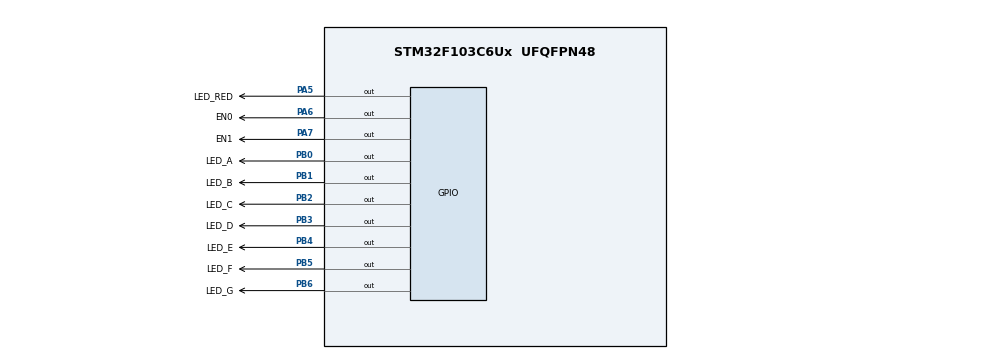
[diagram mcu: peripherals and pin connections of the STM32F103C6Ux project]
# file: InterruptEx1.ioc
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Mcu.Family=STM32F1
Mcu.Name=STM32F103C6Ux
Mcu.Package=UFQFPN48
NVIC.PriorityGroup=NVIC_PRIORITYGROUP_4
NVIC.TIM2_IRQn=true\:0\:0\:false\:false\:true\:true\:true
PA5.GPIO_Label=LED_RED
PA5.Signal=GPIO_Output
PA6.GPIO_Label=EN0
PA6.Signal=GPIO_Output
PA7.GPIO_Label=EN1
PA7.Signal=GPIO_Output
PB0.GPIO_Label=LED_A
PB0.Signal=GPIO_Output
PB1.GPIO_Label=LED_B
PB1.Signal=GPIO_Output
PB2.GPIO_Label=LED_C
PB2.Signal=GPIO_Output
PB3.GPIO_Label=LED_D
PB3.Signal=GPIO_Output
PB4.GPIO_Label=LED_E
PB4.Signal=GPIO_Output
PB5.GPIO_Label=LED_F
PB5.Signal=GPIO_Output
PB6.GPIO_Label=LED_G
PB6.Signal=GPIO_Output
ProjectManager.HeapSize=0x200
ProjectManager.StackSize=0x400
ProjectManager.TargetToolchain=STM32CubeIDE
RCC.APB1Freq_Value=8000000
RCC.APB2Freq_Value=8000000
TIM2.Period=9
TIM2.Prescaler=7999
VP_SYS_VS_ND.Mode=No_Debug
VP_TIM2_VS_ClockSourceINT.Mode=Internal
board=custom

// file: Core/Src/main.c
/* USER CODE BEGIN Header */
/**
  ******************************************************************************
  * @file           : main.c
  * @brief          : Main program body
  ******************************************************************************
  * @attention
  *
  * <h2><center>&copy; Copyright (c) 2024 STMicroelectronics.
  * All rights reserved.</center></h2>
  *
  * This software component is licensed by ST under BSD 3-Clause license,
  * the "License"; You may not use this file except in compliance with the
  * License. You may obtain a copy of the License at:
  *                        opensource.org/licenses/BSD-3-Clause
  *
  ******************************************************************************
  */
/* USER CODE END Header */
#include "main.h"

TIM_HandleTypeDef htim2;

void SystemClock_Config(void);
static void MX_TIM2_Init(void);
static void MX_GPIO_Init(void);

void clear7SEG() {
    HAL_GPIO_WritePin(GPIOB, LED_A_Pin | LED_B_Pin | LED_C_Pin | LED_D_Pin | LED_E_Pin | LED_F_Pin | LED_G_Pin, GPIO_PIN_SET);
}

void display7SEG(int num) {
    clear7SEG();

    switch(num) {
        case 0:
            HAL_GPIO_WritePin(GPIOB, LED_A_Pin | LED_B_Pin | LED_C_Pin | LED_D_Pin | LED_E_Pin | LED_F_Pin, GPIO_PIN_RESET);
            break;
        case 1:
            HAL_GPIO_WritePin(GPIOB, LED_B_Pin | LED_C_Pin, GPIO_PIN_RESET);
            break;
        case 2:
            HAL_GPIO_WritePin(GPIOB, LED_A_Pin | LED_B_Pin | LED_D_Pin | LED_E_Pin | LED_G_Pin, GPIO_PIN_RESET);
            break;
        case 3:
            HAL_GPIO_WritePin(GPIOB, LED_A_Pin | LED_B_Pin | LED_C_Pin | LED_D_Pin | LED_G_Pin, GPIO_PIN_RESET);
            break;
        case 4:
            HAL_GPIO_WritePin(GPIOB, LED_B_Pin | LED_C_Pin | LED_F_Pin | LED_G_Pin, GPIO_PIN_RESET);
            break;
        case 5:
            HAL_GPIO_WritePin(GPIOB, LED_A_Pin | LED_C_Pin | LED_D_Pin | LED_F_Pin | LED_G_Pin, GPIO_PIN_RESET);
            break;
        case 6:
            HAL_GPIO_WritePin(GPIOB, LED_A_Pin | LED_C_Pin | LED_D_Pin | LED_E_Pin | LED_F_Pin | LED_G_Pin, GPIO_PIN_RESET);
            break;
        case 7:
            HAL_GPIO_WritePin(GPIOB, LED_A_Pin | LED_B_Pin | LED_C_Pin, GPIO_PIN_RESET);
            break;
        case 8:
            HAL_GPIO_WritePin(GPIOB, LED_A_Pin | LED_B_Pin | LED_C_Pin | LED_D_Pin | LED_E_Pin | LED_F_Pin | LED_G_Pin, GPIO_PIN_RESET);
            break;
        case 9:
            HAL_GPIO_WritePin(GPIOB, LED_A_Pin | LED_B_Pin | LED_C_Pin | LED_D_Pin | LED_F_Pin | LED_G_Pin, GPIO_PIN_RESET);
            break;
        default:
            break;
    }
}
int main(void)
{

  /* MCU Configuration--------------------------------------------------------*/

  /* Reset of all peripherals, Initializes the Flash interface and the Systick. */
  HAL_Init();

  /* Configure the system clock */
  SystemClock_Config();

  /* Initialize all configured peripherals */
  MX_TIM2_Init();
  MX_GPIO_Init();
  /* USER CODE BEGIN 2 */
  HAL_TIM_Base_Start_IT(&htim2);
  /* USER CODE END 2 */

  /* Infinite loop */
    while (1)
    {

    }
}

void SystemClock_Config(void)
{
  RCC_OscInitTypeDef RCC_OscInitStruct = {0};
  RCC_ClkInitTypeDef RCC_ClkInitStruct = {0};

  /** Initializes the RCC Oscillators according to the specified parameters
  * in the RCC_OscInitTypeDef structure.
  */
  RCC_OscInitStruct.OscillatorType = RCC_OSCILLATORTYPE_HSI;
  RCC_OscInitStruct.HSIState = RCC_HSI_ON;
  RCC_OscInitStruct.HSICalibrationValue = RCC_HSICALIBRATION_DEFAULT;
  RCC_OscInitStruct.PLL.PLLState = RCC_PLL_NONE;
  if (HAL_RCC_OscConfig(&RCC_OscInitStruct) != HAL_OK)
  {
    Error_Handler();
  }
  /** Initializes the CPU, AHB and APB buses clocks
  */
  RCC_ClkInitStruct.ClockType = RCC_CLOCKTYPE_HCLK|RCC_CLOCKTYPE_SYSCLK
                              |RCC_CLOCKTYPE_PCLK1|RCC_CLOCKTYPE_PCLK2;
  RCC_ClkInitStruct.SYSCLKSource = RCC_SYSCLKSOURCE_HSI;
  RCC_ClkInitStruct.AHBCLKDivider = RCC_SYSCLK_DIV1;
  RCC_ClkInitStruct.APB1CLKDivider = RCC_HCLK_DIV1;
  RCC_ClkInitStruct.APB2CLKDivider = RCC_HCLK_DIV1;

  if (HAL_RCC_ClockConfig(&RCC_ClkInitStruct, FLASH_LATENCY_0) != HAL_OK)
  {
    Error_Handler();
  }
}

static void MX_TIM2_Init(void)
{

  TIM_ClockConfigTypeDef sClockSourceConfig = {0};
  TIM_MasterConfigTypeDef sMasterConfig = {0};

  htim2.Instance = TIM2;
  htim2.Init.Prescaler = 7999;
  htim2.Init.CounterMode = TIM_COUNTERMODE_UP;
  htim2.Init.Period = 9;
  htim2.Init.ClockDivision = TIM_CLOCKDIVISION_DIV1;
  htim2.Init.AutoReloadPreload = TIM_AUTORELOAD_PRELOAD_DISABLE;
  if (HAL_TIM_Base_Init(&htim2) != HAL_OK)
  {
    Error_Handler();
  }
  sClockSourceConfig.ClockSource = TIM_CLOCKSOURCE_INTERNAL;
  if (HAL_TIM_ConfigClockSource(&htim2, &sClockSourceConfig) != HAL_OK)
  {
    Error_Handler();
  }
  sMasterConfig.MasterOutputTrigger = TIM_TRGO_RESET;
  sMasterConfig.MasterSlaveMode = TIM_MASTERSLAVEMODE_DISABLE;
  if (HAL_TIMEx_MasterConfigSynchronization(&htim2, &sMasterConfig) != HAL_OK)
  {
    Error_Handler();
  }

}

static void MX_GPIO_Init(void)
{
  GPIO_InitTypeDef GPIO_InitStruct = {0};

  /* GPIO Ports Clock Enable */
  __HAL_RCC_GPIOA_CLK_ENABLE();
  __HAL_RCC_GPIOB_CLK_ENABLE();

  /*Configure GPIO pin Output Level */
  HAL_GPIO_WritePin(GPIOA, LED_RED_Pin|EN0_Pin|EN1_Pin, GPIO_PIN_RESET);

  /*Configure GPIO pin Output Level */
  HAL_GPIO_WritePin(GPIOB, LED_A_Pin|LED_B_Pin|LED_C_Pin|LED_D_Pin
                          |LED_E_Pin|LED_F_Pin|LED_G_Pin, GPIO_PIN_RESET);

  /*Configure GPIO pins : LED_RED_Pin EN0_Pin EN1_Pin */
  GPIO_InitStruct.Pin = LED_RED_Pin|EN0_Pin|EN1_Pin;
  GPIO_InitStruct.Mode = GPIO_MODE_OUTPUT_PP;
  GPIO_InitStruct.Pull = GPIO_NOPULL;
  GPIO_InitStruct.Speed = GPIO_SPEED_FREQ_LOW;
  HAL_GPIO_Init(GPIOA, &GPIO_InitStruct);

  /*Configure GPIO pins : LED_A_Pin LED_B_Pin LED_C_Pin LED_D_Pin
                           LED_E_Pin LED_F_Pin LED_G_Pin */
  GPIO_InitStruct.Pin = LED_A_Pin|LED_B_Pin|LED_C_Pin|LED_D_Pin
                          |LED_E_Pin|LED_F_Pin|LED_G_Pin;
  GPIO_InitStruct.Mode = GPIO_MODE_OUTPUT_PP;
  GPIO_InitStruct.Pull = GPIO_NOPULL;
  GPIO_InitStruct.Speed = GPIO_SPEED_FREQ_LOW;
  HAL_GPIO_Init(GPIOB, &GPIO_InitStruct);

}

/* USER CODE BEGIN 4 */
int counter = 10;
int num=1;
void HAL_TIM_PeriodElapsedCallback ( TIM_HandleTypeDef * htim )
{

	if(counter>0)
	{
		if(num==1)
		{
			HAL_GPIO_WritePin(EN1_GPIO_Port, EN1_Pin, GPIO_PIN_SET);
			HAL_GPIO_WritePin(EN0_GPIO_Port, EN0_Pin, GPIO_PIN_RESET);
		}
		else
		{
			HAL_GPIO_WritePin(EN1_GPIO_Port, EN1_Pin, GPIO_PIN_RESET);
			HAL_GPIO_WritePin(EN0_GPIO_Port, EN0_Pin, GPIO_PIN_SET);
		}
		display7SEG(num);
	}
	counter--;
	if(counter <= 0)
	{
		counter = 10;
		if(num==2) num--;
		else num++;
		if(num==1)
				{
					HAL_GPIO_WritePin(EN1_GPIO_Port, EN1_Pin, GPIO_PIN_SET);
					HAL_GPIO_WritePin(EN0_GPIO_Port, EN0_Pin, GPIO_PIN_RESET);
				}
				else
				{
					HAL_GPIO_WritePin(EN1_GPIO_Port, EN1_Pin, GPIO_PIN_RESET);
					HAL_GPIO_WritePin(EN0_GPIO_Port, EN0_Pin, GPIO_PIN_SET);
				}
		display7SEG(num);
	}
}
/* USER CODE END 4 */

void Error_Handler(void)
{
  __disable_irq();
  while (1)
  {
  }
}

/************************ (C) COPYRIGHT STMicroelectronics *****END OF FILE****/
